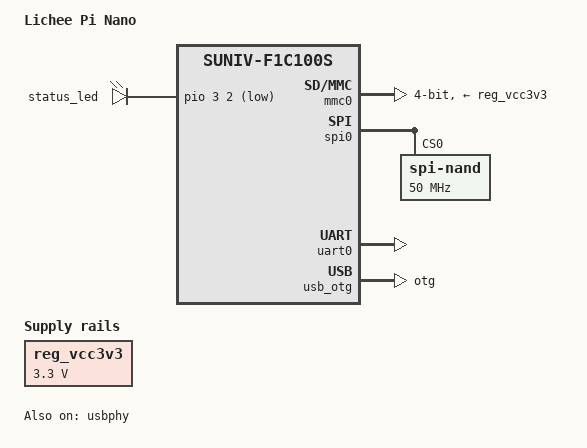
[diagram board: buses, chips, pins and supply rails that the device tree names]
// SPDX-License-Identifier: (GPL-2.0+ OR X11)
/*
 * Copyright 2018 Icenowy Zheng <icenowy@aosc.io>
 */

/dts-v1/;
#include "suniv-f1c100s.dtsi"
#include <dt-bindings/gpio/gpio.h>

/ {
	model = "Lichee Pi Nano";
	compatible = "licheepi,licheepi-nano", "allwinner,suniv-f1c100s";

	aliases {
		mmc0 = &mmc0;
		serial0 = &uart0;
		spi0 = &spi0;
	};

	chosen {
		stdout-path = "serial0:115200n8";
	};

	reg_vcc3v3: vcc3v3 {
		compatible = "regulator-fixed";
		regulator-name = "vcc3v3";
		regulator-min-microvolt = <3300000>;
		regulator-max-microvolt = <3300000>;
	};

    leds: gpio-leds {
        compatible = "gpio-leds";
        pinctrl-names = "default";
        status = "okay";

        led@1 {
            gpios = <&pio 3 2 GPIO_ACTIVE_LOW>; /* PD2 */
            label = "status_led";
            lnux,default-trigger = "heartbeat";
            linux,default-trigger-delay-ms = <0>;
        };  
    };  

};

&mmc0 {
	broken-cd;
	bus-width = <4>;
	disable-wp;
	status = "okay";
	vmmc-supply = <&reg_vcc3v3>;
};

&spi0 {
	pinctrl-names = "default";
	pinctrl-0 = <&spi0_pc_pins>;
	status = "okay";
	spi-max-frequency = <50000000>;

/*
	flash@0 {
		#address-cells = <1>;
		#size-cells = <1>;
		compatible = "winbond,w25q128", "jedec,spi-nor";
		reg = <0>;
		spi-max-frequency = <50000000>;
	};
*/
    spi-nand@0 {
        #address-cells = <1>;
        #size-cells = <1>;
        compatible = "spi-nand";
        reg = <0>;
        spi-max-frequency = <50000000>;
    };
};

&uart0 {
	pinctrl-names = "default";
	pinctrl-0 = <&uart0_pe_pins>;
	status = "okay";
};

&otg_sram {
    status = "okay";
};

&usb_otg {
    dr_mode = "otg";
    status = "okay";
};

&usbphy {
    usb0_id_det-gpio = <&pio 4 2 GPIO_ACTIVE_HIGH>; /* PE2 */
    status = "okay";
};
